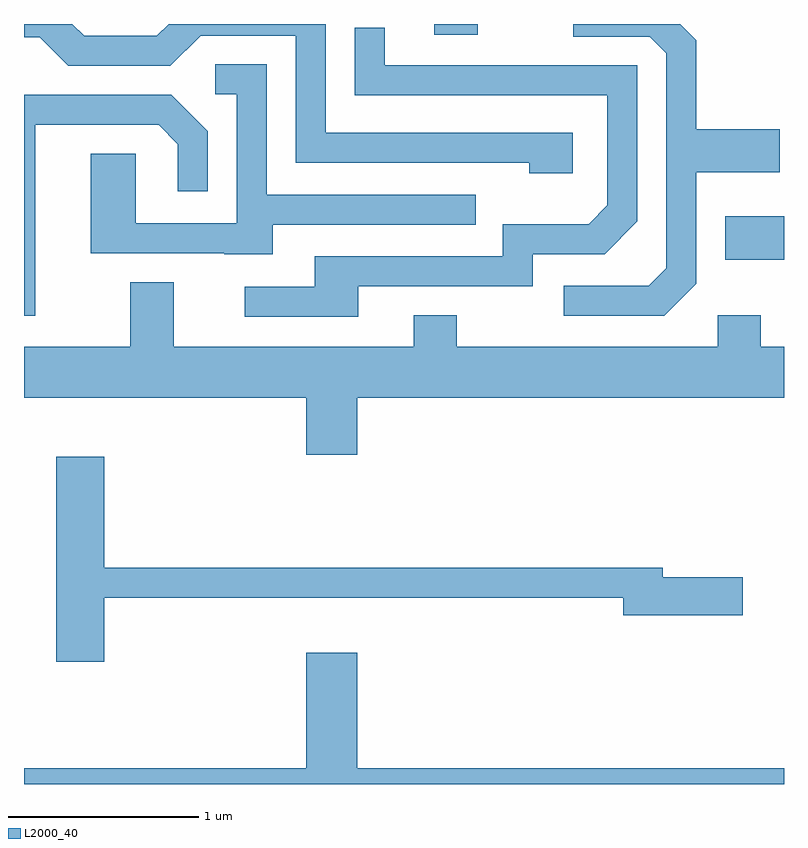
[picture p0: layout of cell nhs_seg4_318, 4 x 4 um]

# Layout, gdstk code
import gdstk
lib = gdstk.Library(unit=1e-6, precision=1e-09)
def R(c, l, rs):  # rectangles x0, y0, x1, y1
    for r in rs: c.add(gdstk.rectangle(r[:2], r[2:], *l))
def P(c, l, *ps):  # polygons
    for p in ps: c.add(gdstk.Polygon(p, *l))
L2000_40 = (2000, 40)

nhs_seg4_318 = lib.new_cell('nhs_seg4_318')
R(nhs_seg4_318, L2000_40, [(197.301,1348.741,197.611,1348.969), (195.771,1349.926,195.999,1349.982)])
P(nhs_seg4_318, L2000_40, [(197.149,1348.614),(197.149,1349.201),(197.589,1349.201),(197.589,1349.429),(197.149,1349.429),(197.149,1349.897),(197.064,1349.982),(196.503,1349.982),(196.503,1349.916),(196.904,1349.916),(196.991,1349.829),(196.991,1348.697),(196.899,1348.604),(196.453,1348.604),(196.453,1348.446),(196.982,1348.446)],
  [(196.499,1349.409),(195.199,1349.409),(195.199,1349.982),(194.372,1349.982),(194.309,1349.919),(193.927,1349.919),(193.864,1349.982),(193.611,1349.982),(193.611,1349.911),(193.694,1349.911),(193.844,1349.761),(194.382,1349.761),(194.542,1349.921),(195.041,1349.921),(195.041,1349.251),(196.271,1349.251),(196.271,1349.196),(196.499,1349.196)],
  [(195.369,1348.601),(196.289,1348.601),(196.289,1348.771),(196.667,1348.771),(196.839,1348.944),(196.839,1349.764),(195.509,1349.764),(195.509,1349.963),(195.351,1349.963),(195.351,1349.606),(196.681,1349.606),(196.681,1349.027),(196.584,1348.929),(196.131,1348.929),(196.131,1348.759),(195.141,1348.759),(195.141,1348.599),(194.773,1348.599),(194.773,1348.441),(195.369,1348.441)],
  [(194.919,1348.926),(195.988,1348.926),(195.988,1349.084),(194.889,1349.084),(194.889,1349.769),(194.618,1349.769),(194.618,1349.611),(194.731,1349.611),(194.731,1348.934),(194.199,1348.934),(194.199,1349.299),(193.961,1349.299),(193.961,1348.776),(194.665,1348.776),(194.665,1348.771),(194.919,1348.771)],
  [(193.669,1349.451),(194.319,1349.451),(194.421,1349.349),(194.421,1349.103),(194.579,1349.103),(194.579,1349.417),(194.387,1349.609),(193.611,1349.609),(193.611,1348.446),(193.669,1348.446)],
  [(195.364,1348.016),(197.611,1348.016),(197.611,1348.284),(197.489,1348.284),(197.489,1348.449),(197.261,1348.449),(197.261,1348.284),(195.889,1348.284),(195.889,1348.449),(195.661,1348.449),(195.661,1348.284),(194.399,1348.284),(194.399,1348.624),(194.171,1348.624),(194.171,1348.284),(193.611,1348.284),(193.611,1348.016),(195.096,1348.016),(195.096,1347.716),(195.364,1347.716)],
  [(194.034,1346.961),(196.766,1346.961),(196.766,1346.871),(197.394,1346.871),(197.394,1347.069),(196.974,1347.069),(196.974,1347.119),(194.034,1347.119),(194.034,1347.704),(193.781,1347.704),(193.781,1346.626),(194.034,1346.626)],
  [(197.611,1346.064),(195.364,1346.064),(195.364,1346.674),(195.096,1346.674),(195.096,1346.064),(193.611,1346.064),(193.611,1345.982),(197.611,1345.982)])

lib.write_gds('nhs_seg4_318.gds')
